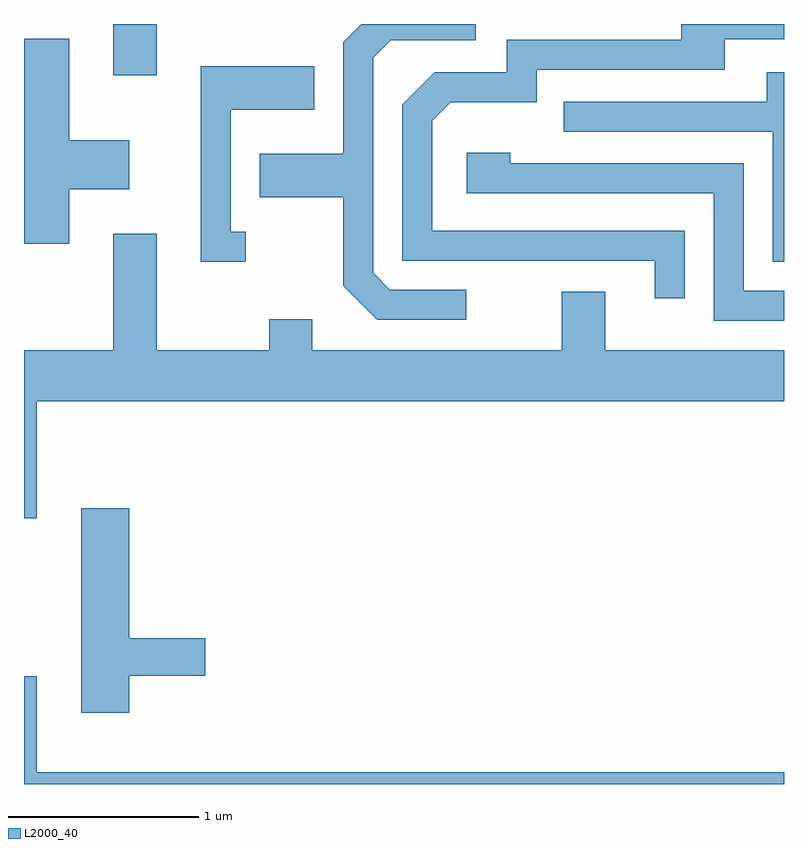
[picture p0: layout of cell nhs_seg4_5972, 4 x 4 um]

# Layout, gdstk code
import gdstk
lib = gdstk.Library(unit=1e-6, precision=1e-09)
def R(c, l, rs):  # rectangles x0, y0, x1, y1
    for r in rs: c.add(gdstk.rectangle(r[:2], r[2:], *l))
def P(c, l, *ps):  # polygons
    for p in ps: c.add(gdstk.Polygon(p, *l))
L2000_40 = (2000, 40)

nhs_seg4_5972 = lib.new_cell('nhs_seg4_5972')
R(nhs_seg4_5972, L2000_40, [(360.081,1369.711,360.309,1369.982)])
P(nhs_seg4_5972, L2000_40, [(361.938,1368.584),(361.537,1368.584),(361.449,1368.672),(361.449,1369.804),(361.542,1369.896),(361.988,1369.896),(361.988,1369.982),(361.387,1369.982),(361.291,1369.887),(361.291,1369.299),(360.851,1369.299),(360.851,1369.071),(361.291,1369.071),(361.291,1368.604),(361.469,1368.426),(361.938,1368.426)],
  [(363.089,1368.894),(361.759,1368.894),(361.759,1369.474),(361.857,1369.571),(362.309,1369.571),(362.309,1369.741),(363.299,1369.741),(363.299,1369.901),(363.611,1369.901),(363.611,1369.982),(363.071,1369.982),(363.071,1369.899),(362.151,1369.899),(362.151,1369.729),(361.774,1369.729),(361.601,1369.557),(361.601,1368.736),(362.931,1368.736),(362.931,1368.538),(363.089,1368.538)],
  [(359.849,1369.111),(360.164,1369.111),(360.164,1369.369),(359.849,1369.369),(359.849,1369.904),(359.611,1369.904),(359.611,1368.826),(359.849,1368.826)],
  [(360.778,1368.889),(360.699,1368.889),(360.699,1369.531),(361.139,1369.531),(361.139,1369.759),(360.541,1369.759),(360.541,1368.731),(360.778,1368.731)],
  [(363.611,1369.729),(363.521,1369.729),(363.521,1369.574),(362.453,1369.574),(362.453,1369.416),(363.551,1369.416),(363.551,1368.731),(363.611,1368.731)],
  [(363.611,1368.579),(363.399,1368.579),(363.399,1369.249),(362.169,1369.249),(362.169,1369.304),(361.941,1369.304),(361.941,1369.091),(363.241,1369.091),(363.241,1368.421),(363.611,1368.421)],
  [(359.679,1367.996),(363.611,1367.996),(363.611,1368.264),(362.669,1368.264),(362.669,1368.574),(362.441,1368.574),(362.441,1368.264),(361.129,1368.264),(361.129,1368.429),(360.901,1368.429),(360.901,1368.264),(360.309,1368.264),(360.309,1368.879),(360.081,1368.879),(360.081,1368.264),(359.611,1368.264),(359.611,1367.381),(359.679,1367.381)],
  [(360.164,1366.551),(360.564,1366.551),(360.564,1366.749),(360.164,1366.749),(360.164,1367.434),(359.911,1367.434),(359.911,1366.356),(360.164,1366.356)],
  [(363.611,1366.044),(359.679,1366.044),(359.679,1366.549),(359.611,1366.549),(359.611,1365.982),(363.611,1365.982)])

lib.write_gds('nhs_seg4_5972.gds')
